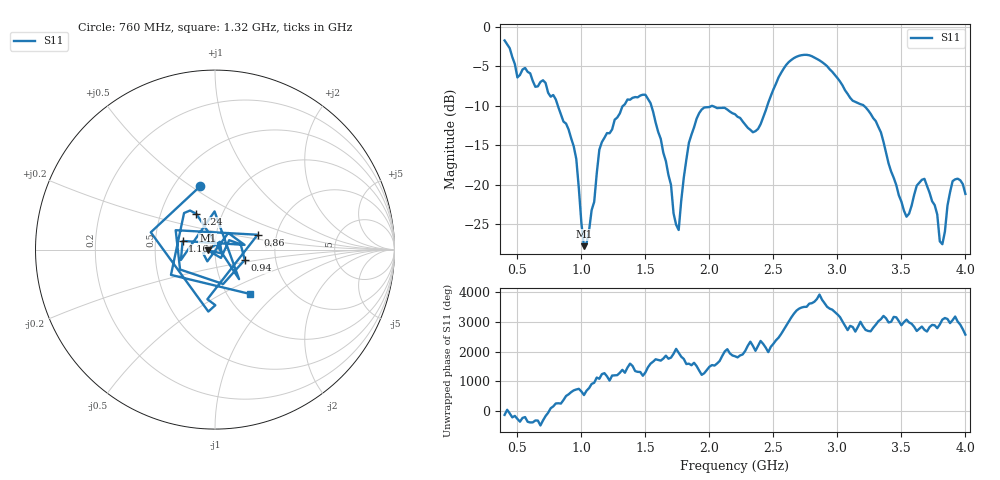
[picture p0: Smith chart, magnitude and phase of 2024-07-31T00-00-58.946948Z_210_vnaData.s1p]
!Created with skrf (http://scikit-rf.org).
# Hz S RI R 50.0
!freq ReS11 ImS11
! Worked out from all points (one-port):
!   181 points, 400 MHz to 4 GHz, reference 50 ohm
!   lowest |S11| = -27.8 dB at 1.02 GHz (marker M1), VSWR 1.09, Z = 46.1 - j0.322 ohm
!   |S11| at or under -10 dB: 816.4 MHz to 1.325 GHz (508.7 MHz wide, 47.5 % of centre); 1.547 GHz to 2.018 GHz (471.9 MHz wide, 26.5 % of centre); 3.208 GHz to end of sweep (the widest 3 of 4)
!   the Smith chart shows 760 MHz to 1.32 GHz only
!   S11 on the Smith chart (normalised r, x): 760 MHz: 0.67, +0.54; 860 MHz: 1.59, +0.28; 940 MHz: 1.39, -0.16; 1.16 GHz: 0.69, +0.07; 1.24 GHz: 0.75, +0.32; 1.32 GHz: 1.27, -0.69
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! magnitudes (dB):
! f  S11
! 400 MHz  -1.7
! 500 MHz  -6.4
! 560 MHz  -5.2
! 760 MHz  -8.8
! 860 MHz  -12.0
! 940 MHz  -15.1
! 960 MHz  -16.7
! 1.02 GHz  -27.8
! 1.1 GHz  -22.1
! 1.16 GHz  -14.6
! 1.24 GHz  -13.0
! 1.3 GHz  -11.0
! 1.32 GHz  -10.1
! 1.54 GHz  -9.6
! 1.76 GHz  -25.7
! 1.84 GHz  -14.7
! 1.92 GHz  -10.9
! 2.2 GHz  -11.1
! 2.38 GHz  -12.9
! 2.66 GHz  -4.0
! 2.88 GHz  -4.5
! 3.1 GHz  -9.0
! 3.3 GHz  -11.9
! 3.56 GHz  -23.7
! 3.68 GHz  -19.2
! 3.82 GHz  -27.5
! 3.9 GHz  -19.5
! 4 GHz  -21.2
